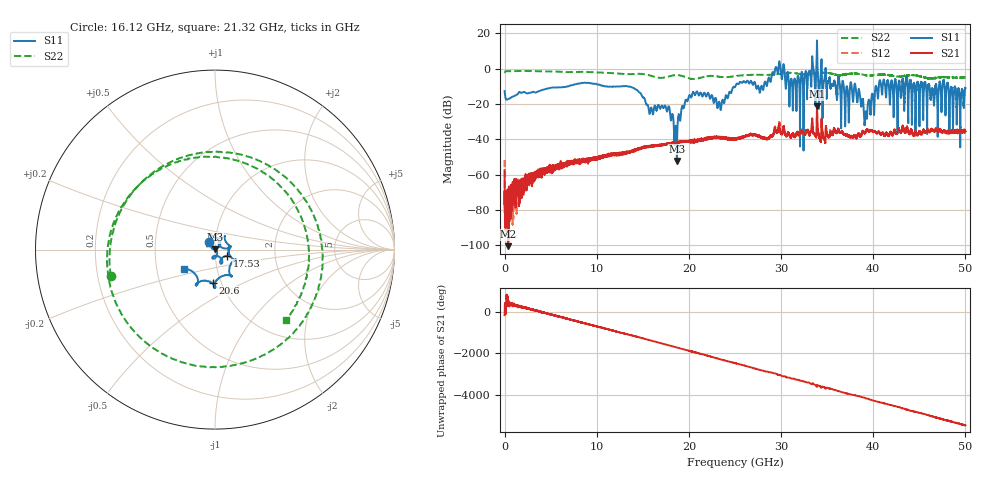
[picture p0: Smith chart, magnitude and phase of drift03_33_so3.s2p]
!Created with skrf (http://scikit-rf.org).
# Hz S RI R 50.0
!freq ReS11 ImS11 ReS21 ImS21 ReS12 ImS12 ReS22 ImS22
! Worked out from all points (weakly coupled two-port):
!   10001 points, 300 kHz to 50 GHz, reference 50 ohm
!   highest |S21| = -21.42 dB at 33.9 GHz (marker M1); lowest = -100.5 dB at 395.3 MHz (marker M2)
!   lowest |S11| = -52.3 dB at 18.7 GHz (marker M3), VSWR 1.00, Z = 50 + j0.243 ohm
!   |S11| at or under -10 dB: start of sweep to 6.941 GHz; 13.32 GHz to 25.05 GHz (11.73 GHz wide, 61.1 % of centre); 38.08 GHz to 40.26 GHz (2.184 GHz wide, 5.58 % of centre) (the widest 3 of 56)
!   |S22| runs from -5.9 to -1.3 dB; largest |S21 - S12| = 0.0088
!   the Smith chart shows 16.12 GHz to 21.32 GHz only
!   S11 on the Smith chart (normalised r, x): 16.12 GHz: 0.94, +0.08; 17.53 GHz: 1.14, -0.08; 20.6 GHz: 0.91, -0.35; 21.32 GHz: 0.69, -0.16
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300000  -0.2086 -0.0996  -0.0013 -0.000303  0.00107 0.00236  -0.7694 -0.1936
3.952976e8  -0.0937 0.1013  9.18e-06 2.1e-06  0.000169 0.000147  -0.5883 0.6077
1.540291e9  0.2062 0.0411  -9.05e-06 -0.000476  -8.86e-05 -0.000545  0.8499 0.0688
3.160281e9  -0.2189 -0.00858  0.000343 0.000856  0.000162 0.000863  -0.8445 -0.0253
4.665272e9  0.2635 0.0611  -7.53e-05 -0.0014  -0.000176 -0.00149  0.8184 0.1425
6.360262e9  -0.3 0.000445  0.000329 0.00197  0.000626 0.00215  -0.8042 -0.0424
8.33525e9  0.2839 -0.2676  -0.0024 -0.000759  -0.00225 -0.000875  0.6017 -0.5361
9.575243e9  -0.3714 -0.0487  0.00138 0.00245  0.00139 0.00253  -0.7856 -0.0942
1.124523e10  0.3055 0.0231  -0.00211 -0.00276  -0.00225 -0.00264  0.7575 0.0206
1.61202e10  -0.0307 0.0426  0.00614 0.00182  0.00616 0.00213  -0.5805 -0.1452
1.66702e10  0.054 0.0761  0.00461 -0.00482  0.00468 -0.00488  -0.3591 0.4186
1.752519e10  0.0674 -0.0352  -0.00616 -0.00392  -0.00602 -0.00384  0.4926 0.291
1.869519e10  6.92e-05 0.00243  0.00244 0.00794  0.00243 0.00788  -0.0888 -0.6488
2.059518e10  -0.013 -0.1864  -0.00739 -0.00441  -0.00766 -0.00384  0.3892 0.3279
2.132017e10  -0.1709 -0.1089  -0.00575 0.0082  -0.00494 0.00856  0.3966 -0.3911
2.500015e10  -0.2971 -0.0489  0.00771 0.00666  0.00745 0.00648  -0.1841 -0.5833
3.051012e10  0.2484 -0.1068  -0.00232 0.0122  -0.00246 0.0128  0.7415 -0.0593
3.213011e10  0.2014 0.3713  -0.000185 -0.0149  -0.00109 -0.015  -0.6966 0.0143
3.33351e10  0.4712 -0.9719  -0.00419 0.0245  -0.00516 0.0247  0.6137 0.3666
3.38951e10  -0.7869 -6.204  0.0844 0.00939  0.0797 0.00607  0.681 -0.3205
4.167005e10  -0.2184 0.2864  -0.0119 -0.00473  -0.0112 -0.00506  -0.6508 -0.0582
5e10  -0.1411 -0.2447  0.000943 -0.017  0.00139 -0.0162  0.4678 -0.317
